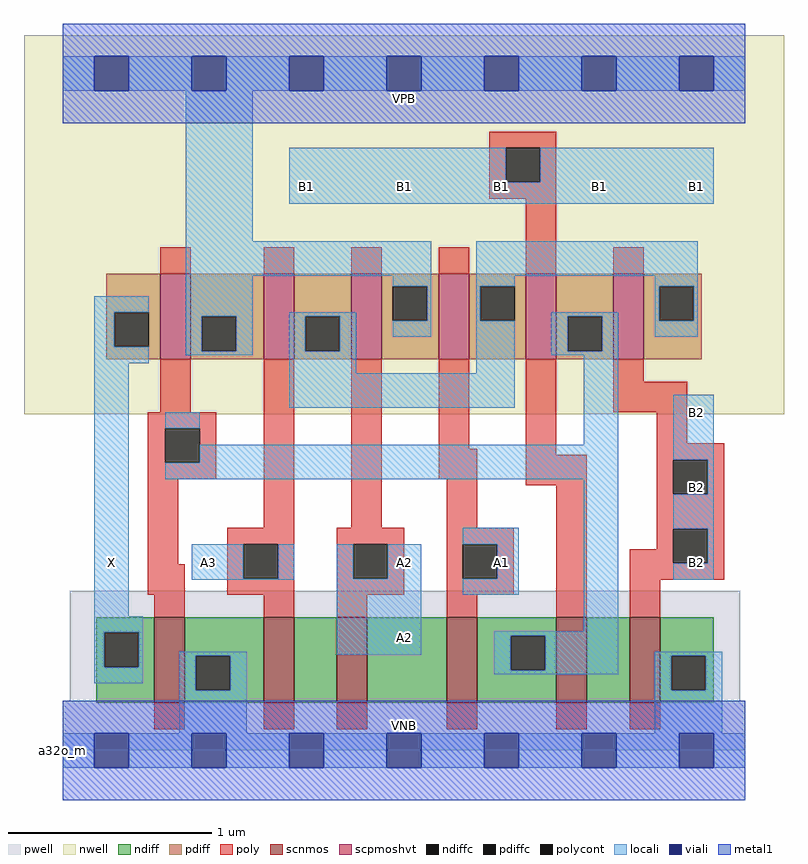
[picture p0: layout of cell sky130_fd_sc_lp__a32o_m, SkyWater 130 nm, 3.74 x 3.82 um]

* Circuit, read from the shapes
.subckt sky130_fd_sc_lp__a32o_m A1 A2 A3 B1 B2 VGND VNB VPB VPWR X
XM1 VGND n1 X VNB sky130_fd_pr__nfet_01v8 w=0.42 l=0.15
XM2 n2 A3 VGND VNB sky130_fd_pr__nfet_01v8 w=0.42 l=0.15
XM3 n3 A2 n2 VNB sky130_fd_pr__nfet_01v8 w=0.42 l=0.15
XM4 n1 A1 n3 VNB sky130_fd_pr__nfet_01v8 w=0.42 l=0.15
XM5 n4 B1 n1 VNB sky130_fd_pr__nfet_01v8 w=0.42 l=0.15
XM6 VGND B2 n4 VNB sky130_fd_pr__nfet_01v8 w=0.42 l=0.15
XM7 VPWR n1 X VPB sky130_fd_pr__pfet_01v8_hvt w=0.42 l=0.15
XM8 n5 A3 VPWR VPB sky130_fd_pr__pfet_01v8_hvt w=0.42 l=0.15
XM9 VPWR A2 n5 VPB sky130_fd_pr__pfet_01v8_hvt w=0.42 l=0.15
XM10 n5 A1 VPWR VPB sky130_fd_pr__pfet_01v8_hvt w=0.42 l=0.15
XM11 n1 B1 n5 VPB sky130_fd_pr__pfet_01v8_hvt w=0.42 l=0.15
XM12 n5 B2 n1 VPB sky130_fd_pr__pfet_01v8_hvt w=0.42 l=0.15
.ends

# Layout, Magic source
magic
tech sky130A
magscale 1 2
<< nwell >>
rect -38 331 710 704
<< pwell >>
rect 7 49 667 157
rect 0 0 672 49
<< scnmos >>
rect 90 47 120 131
rect 198 47 228 131
rect 270 47 300 131
rect 378 47 408 131
rect 486 47 516 131
rect 558 47 588 131
<< scpmoshvt >>
rect 96 385 126 469
rect 198 385 228 469
rect 284 385 314 469
rect 370 385 400 469
rect 456 385 486 469
rect 542 385 572 469
<< ndiff >>
rect 33 116 90 131
rect 33 82 41 116
rect 75 82 90 116
rect 33 47 90 82
rect 120 93 198 131
rect 120 59 131 93
rect 165 59 198 93
rect 120 47 198 59
rect 228 47 270 131
rect 300 47 378 131
rect 408 113 486 131
rect 408 79 441 113
rect 475 79 486 113
rect 408 47 486 79
rect 516 47 558 131
rect 588 93 641 131
rect 588 59 599 93
rect 633 59 641 93
rect 588 47 641 59
<< pdiff >>
rect 43 431 96 469
rect 43 397 51 431
rect 85 397 96 431
rect 43 385 96 397
rect 126 427 198 469
rect 126 393 137 427
rect 171 393 198 427
rect 126 385 198 393
rect 228 427 284 469
rect 228 393 239 427
rect 273 393 284 427
rect 228 385 284 393
rect 314 457 370 469
rect 314 423 325 457
rect 359 423 370 457
rect 314 385 370 423
rect 400 457 456 469
rect 400 423 411 457
rect 445 423 456 457
rect 400 385 456 423
rect 486 427 542 469
rect 486 393 497 427
rect 531 393 542 427
rect 486 385 542 393
rect 572 457 629 469
rect 572 423 587 457
rect 621 423 629 457
rect 572 385 629 423
<< ndiffc >>
rect 41 82 75 116
rect 131 59 165 93
rect 441 79 475 113
rect 599 59 633 93
<< pdiffc >>
rect 51 397 85 431
rect 137 393 171 427
rect 239 393 273 427
rect 325 423 359 457
rect 411 423 445 457
rect 497 393 531 427
rect 587 423 621 457
<< poly >>
rect 420 593 486 609
rect 420 559 436 593
rect 470 559 486 593
rect 420 543 486 559
rect 96 469 126 495
rect 198 469 228 495
rect 284 469 314 495
rect 370 469 400 495
rect 456 469 486 543
rect 542 469 572 495
rect 96 333 126 385
rect 84 317 151 333
rect 84 283 101 317
rect 135 283 151 317
rect 84 267 151 283
rect 84 183 114 267
rect 198 219 228 385
rect 284 219 314 385
rect 370 297 400 385
rect 370 267 408 297
rect 378 219 408 267
rect 456 291 486 385
rect 542 363 572 385
rect 542 333 615 363
rect 585 302 615 333
rect 456 261 516 291
rect 162 203 228 219
rect 84 153 120 183
rect 162 169 178 203
rect 212 169 228 203
rect 162 153 228 169
rect 90 131 120 153
rect 198 131 228 153
rect 270 203 336 219
rect 270 169 286 203
rect 320 169 336 203
rect 270 153 336 169
rect 378 203 444 219
rect 378 169 394 203
rect 428 169 444 203
rect 378 153 444 169
rect 270 131 300 153
rect 378 131 408 153
rect 486 131 516 261
rect 585 286 651 302
rect 585 252 601 286
rect 635 252 651 286
rect 585 218 651 252
rect 585 198 601 218
rect 558 184 601 198
rect 635 184 651 218
rect 558 168 651 184
rect 558 131 588 168
rect 90 21 120 47
rect 198 21 228 47
rect 270 21 300 47
rect 378 21 408 47
rect 486 21 516 47
rect 558 21 588 47
<< polycont >>
rect 436 559 470 593
rect 101 283 135 317
rect 178 169 212 203
rect 286 169 320 203
rect 394 169 428 203
rect 601 252 635 286
rect 601 184 635 218
<< locali >>
rect 0 649 31 683
rect 65 649 127 683
rect 161 649 223 683
rect 257 649 319 683
rect 353 649 415 683
rect 449 649 511 683
rect 545 649 607 683
rect 641 649 672 683
rect 121 501 187 649
rect 223 559 436 593
rect 470 559 641 593
rect 223 538 641 559
rect 121 467 363 501
rect 31 431 85 447
rect 31 397 51 431
rect 31 381 85 397
rect 121 427 187 467
rect 325 457 363 467
rect 121 393 137 427
rect 171 393 187 427
rect 121 389 187 393
rect 223 427 289 431
rect 223 393 239 427
rect 273 393 289 427
rect 359 423 363 457
rect 325 407 363 423
rect 407 467 625 501
rect 407 457 445 467
rect 407 423 411 457
rect 583 457 625 467
rect 31 132 65 381
rect 223 371 289 393
rect 407 371 445 423
rect 481 427 547 431
rect 481 393 497 427
rect 531 393 547 427
rect 583 423 587 457
rect 621 423 625 457
rect 583 407 625 423
rect 481 389 547 393
rect 223 337 445 371
rect 101 317 135 333
rect 513 301 547 389
rect 135 283 547 301
rect 101 267 547 283
rect 394 203 449 219
rect 127 169 178 203
rect 212 169 228 203
rect 127 168 228 169
rect 270 169 286 203
rect 320 169 353 203
rect 31 116 79 132
rect 31 82 41 116
rect 75 82 79 116
rect 31 66 79 82
rect 115 93 181 97
rect 270 94 353 169
rect 428 169 449 203
rect 394 153 449 169
rect 513 117 547 267
rect 601 286 641 350
rect 635 252 641 286
rect 601 218 641 252
rect 635 184 641 218
rect 601 168 641 184
rect 425 113 547 117
rect 115 59 131 93
rect 165 59 181 93
rect 425 79 441 113
rect 475 79 547 113
rect 425 75 547 79
rect 583 93 649 97
rect 115 17 181 59
rect 583 59 599 93
rect 633 59 649 93
rect 583 17 649 59
rect 0 -17 31 17
rect 65 -17 127 17
rect 161 -17 223 17
rect 257 -17 319 17
rect 353 -17 415 17
rect 449 -17 511 17
rect 545 -17 607 17
rect 641 -17 672 17
<< viali >>
rect 31 649 65 683
rect 127 649 161 683
rect 223 649 257 683
rect 319 649 353 683
rect 415 649 449 683
rect 511 649 545 683
rect 607 649 641 683
rect 31 -17 65 17
rect 127 -17 161 17
rect 223 -17 257 17
rect 319 -17 353 17
rect 415 -17 449 17
rect 511 -17 545 17
rect 607 -17 641 17
<< metal1 >>
rect 0 683 672 715
rect 0 649 31 683
rect 65 649 127 683
rect 161 649 223 683
rect 257 649 319 683
rect 353 649 415 683
rect 449 649 511 683
rect 545 649 607 683
rect 641 649 672 683
rect 0 617 672 649
rect 0 17 672 49
rect 0 -17 31 17
rect 65 -17 127 17
rect 161 -17 223 17
rect 257 -17 319 17
rect 353 -17 415 17
rect 449 -17 511 17
rect 545 -17 607 17
rect 641 -17 672 17
rect 0 -49 672 -17
<< labels >>
flabel pwell s 0 0 672 49 0 FreeSans 200 0 0 0 VNB
port 7 nsew ground bidirectional
flabel nwell s 0 617 672 666 0 FreeSans 200 0 0 0 VPB
port 8 nsew power bidirectional
rlabel comment s 0 0 0 0 4 a32o_m
flabel metal1 s 0 617 672 666 0 FreeSans 340 0 0 0 VPWR
port 9 nsew power bidirectional
flabel metal1 s 0 0 672 49 0 FreeSans 340 0 0 0 VGND
port 6 nsew ground bidirectional
flabel locali s 415 168 449 202 0 FreeSans 340 0 0 0 A1
port 1 nsew signal input
flabel locali s 319 94 353 128 0 FreeSans 340 0 0 0 A2
port 2 nsew signal input
flabel locali s 319 168 353 202 0 FreeSans 340 0 0 0 A2
port 2 nsew signal input
flabel locali s 127 168 161 202 0 FreeSans 340 0 0 0 A3
port 3 nsew signal input
flabel locali s 607 168 641 202 0 FreeSans 340 0 0 0 B2
port 5 nsew signal input
flabel locali s 607 242 641 276 0 FreeSans 340 0 0 0 B2
port 5 nsew signal input
flabel locali s 607 316 641 350 0 FreeSans 340 0 0 0 B2
port 5 nsew signal input
flabel locali s 223 538 257 572 0 FreeSans 340 0 0 0 B1
port 4 nsew signal input
flabel locali s 319 538 353 572 0 FreeSans 340 0 0 0 B1
port 4 nsew signal input
flabel locali s 415 538 449 572 0 FreeSans 340 0 0 0 B1
port 4 nsew signal input
flabel locali s 511 538 545 572 0 FreeSans 340 0 0 0 B1
port 4 nsew signal input
flabel locali s 607 538 641 572 0 FreeSans 340 0 0 0 B1
port 4 nsew signal input
flabel locali s 31 168 65 202 0 FreeSans 340 0 0 0 X
port 10 nsew signal output
<< properties >>
string LEFsite unit
string LEFclass CORE
string FIXED_BBOX 0 0 672 666
string GDS_FILE $PDKPATH/libs.ref/sky130_fd_sc_lp/gds/sky130_fd_sc_lp.gds
string LEFsymmetry X Y R90
string GDS_END 2168030
string GDS_START 2161180
<< end >>
